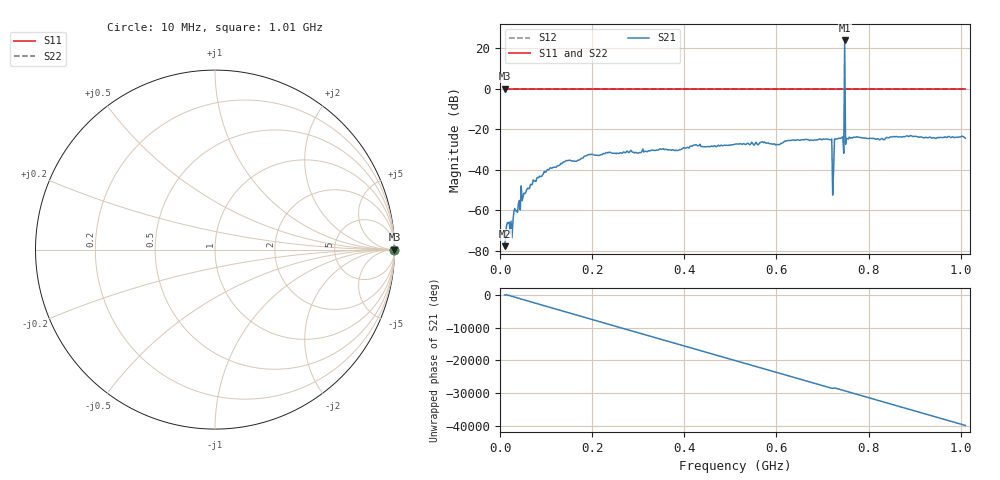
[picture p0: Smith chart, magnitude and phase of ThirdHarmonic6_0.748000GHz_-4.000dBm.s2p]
! 8/16/2025 1:00:50 AM
! C:\ANRITSUVNA\TEMP\TEMP.S2P
! CHANNEL.1
! TR.MEASUREMENT
! RAW.DATA
! RF.CORRECTION.OFF
! AVERAGING.OFF
! IF.BANDWIDTH: 5KHZ
! SWEEPTYPE:  FREQ.SWEEP(Linear)
! Reference Plane Port Info
! PORT:  PORT1  PORT2
! DISTANCE:  0  m  0  m
! TIME:  0  s  0  s
! PHASE.OFFSET:  0  deg.  0  deg.
! LOSS:  0  dB  0  dB
! REF.LOSS:  0  dB  0  dB
! REF.FREQ:  0  Hz  0  Hz
! Power Info
! POWER:  -20  dBm  -20  dBm
! EFF.POWER:  -20  dBm  -20  dBm
! SOURCE.ATTEN:  0  dB  0  dB
! TEST.ATTEN:  0  dB  0  dB
# GHZ S RI R 50.0
! FREQ.GHZ  S11RE  S11IM  S21RE  S21IM  S12RE  S12IM  S22RE  S22IM
!; PortSelection: Port_12
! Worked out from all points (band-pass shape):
!   501 points, 10 MHz to 1.01 GHz, reference 50 ohm
!   highest |S21| = 23.75 dB at 748 MHz (marker M1); lowest = -77.7 dB at 10 MHz (marker M2)
!   |S21| within 3 dB of the highest: 747.8921 MHz to 748.117 MHz (225 kHz wide, 0.0301 % of centre)
!   lowest |S11| = 0.0 dB at 10 MHz (marker M3)
!   |S11| at or under -10 dB: nowhere
!   |S22| runs from 0.0 to 0.0 dB; largest |S21 - S12| = 15
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0.01  1 0  4.24e-05 -0.000124  1 0  1 0
0.016  1 0  2.96e-05 -0.000495  1 0  1 0
0.024  1 0  0.000409 -0.000356  1 0  1 0
0.032  1 0  0.0011 -0.000147  1 0  1 0
0.05  1 0  0.0021 -0.000364  1 0  1 0
0.07  1 0  -0.00172 -0.00404  1 0  1 0
0.106  1 0  -0.00723 -0.00696  1 0  1 0
0.178  1 0  -0.0188 -0.00433  1 0  1 0
0.344  1 0  0.0299 -0.00701  1 0  1 0
0.51  1 0  -0.0399 0.0156  1 0  1 0
0.678  1 0  -0.0251 -0.0476  1 0  1 0
0.716  1 0  -0.0485 0.0258  1 0  1 0
0.72  1 0  0.0568 -0.00866  1 0  1 0
0.726  1 0  -0.0223 0.053  1 0  1 0
0.73  1 0  0.0378 -0.0434  1 0  1 0
0.742  1 0  -0.0627 -0.00596  1 0  1 0
0.744  1 0  -0.0176 0.0624  1 0  1 0
0.748  1 0  8.137 -13.08  1 0  1 0
0.752  1 0  -0.0443 0.0397  1 0  1 0
0.754  1 0  0.0311 0.0493  1 0  1 0
0.844  1 0  0.045 0.0414  1 0  1 0
1.01  1 0  -0.0586 -0.0131  1 0  1 0
